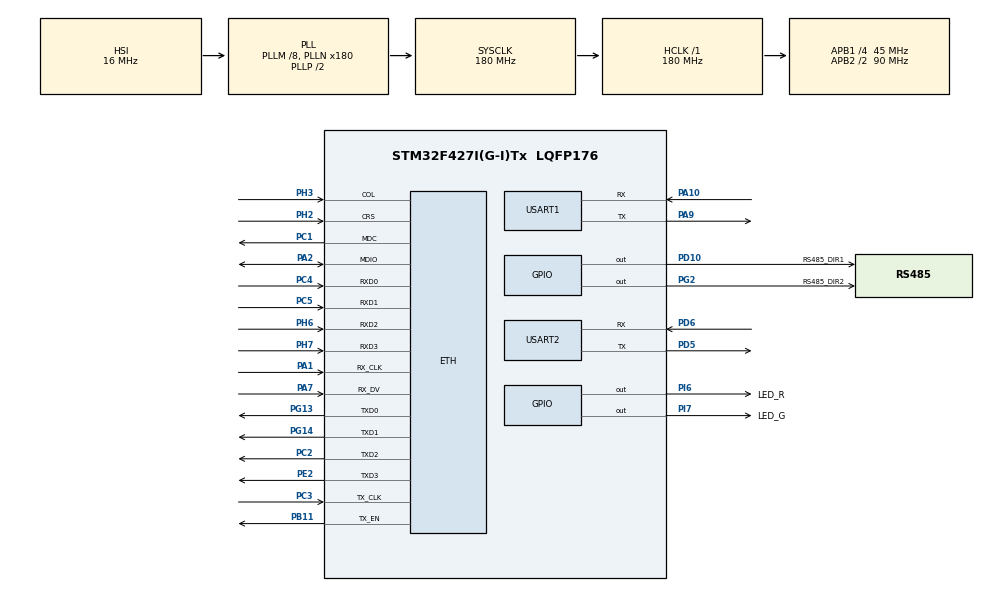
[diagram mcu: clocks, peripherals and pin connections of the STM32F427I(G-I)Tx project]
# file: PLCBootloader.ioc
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Dma.Request0=USART1_TX
Dma.Request1=USART2_TX
Dma.USART1_TX.0.Direction=DMA_MEMORY_TO_PERIPH
Dma.USART1_TX.0.FIFOMode=DMA_FIFOMODE_DISABLE
Dma.USART1_TX.0.Instance=DMA2_Stream7
Dma.USART1_TX.0.MemDataAlignment=DMA_MDATAALIGN_BYTE
Dma.USART1_TX.0.MemInc=DMA_MINC_ENABLE
Dma.USART1_TX.0.Mode=DMA_NORMAL
Dma.USART1_TX.0.PeriphDataAlignment=DMA_PDATAALIGN_BYTE
Dma.USART1_TX.0.PeriphInc=DMA_PINC_DISABLE
Dma.USART1_TX.0.Priority=DMA_PRIORITY_MEDIUM
Dma.USART2_TX.1.Direction=DMA_MEMORY_TO_PERIPH
Dma.USART2_TX.1.FIFOMode=DMA_FIFOMODE_DISABLE
Dma.USART2_TX.1.Instance=DMA1_Stream6
Dma.USART2_TX.1.MemDataAlignment=DMA_MDATAALIGN_BYTE
Dma.USART2_TX.1.MemInc=DMA_MINC_ENABLE
Dma.USART2_TX.1.Mode=DMA_NORMAL
Dma.USART2_TX.1.PeriphDataAlignment=DMA_PDATAALIGN_BYTE
Dma.USART2_TX.1.PeriphInc=DMA_PINC_DISABLE
Dma.USART2_TX.1.Priority=DMA_PRIORITY_MEDIUM
ETH.MediaInterface=ETH_MEDIA_INTERFACE_MII
FREERTOS.Tasks01=defaultTask,0,128,StartDefaultTask,Default,NULL
FREERTOS.configTOTAL_HEAP_SIZE=32000
LWIP.GATEWAY_ADDRESS=192.168.005.001
LWIP.IP_ADDRESS=192.168.005.002
LWIP.LWIP_DHCP=0
LWIP.NETMASK_ADDRESS=255.255.255.000
LWIP.Version=v2.0.3_Cube
Mcu.Family=STM32F4
Mcu.Name=STM32F427I(G-I)Tx
Mcu.Package=LQFP176
NVIC.DMA1_Stream6_IRQn=true\:5\:0\:false\:false\:true\:true\:false\:true
NVIC.DMA2_Stream7_IRQn=true\:5\:0\:false\:false\:true\:true\:false\:true
NVIC.ETH_IRQn=true\:5\:0\:false\:false\:true\:true\:false\:true
NVIC.PriorityGroup=NVIC_PRIORITYGROUP_4
NVIC.TIM1_UP_TIM10_IRQn=true\:0\:0\:false\:false\:true\:false\:false\:true
NVIC.TimeBase=TIM1_UP_TIM10_IRQn
NVIC.TimeBaseIP=TIM1
NVIC.USART1_IRQn=true\:5\:0\:false\:false\:true\:true\:true\:true
NVIC.USART2_IRQn=true\:5\:0\:false\:false\:true\:true\:true\:true
PA1.Mode=MII
PA1.Signal=ETH_RX_CLK
PA10.Mode=Asynchronous
PA10.Signal=USART1_RX
PA2.Mode=MII
PA2.Signal=ETH_MDIO
PA7.Mode=MII
PA7.Signal=ETH_RX_DV
PA9.Mode=Asynchronous
PA9.Signal=USART1_TX
PB11.Mode=MII
PB11.Signal=ETH_TX_EN
PC1.Mode=MII
PC1.Signal=ETH_MDC
PC2.Mode=MII
PC2.Signal=ETH_TXD2
PC3.Mode=MII
PC3.Signal=ETH_TX_CLK
PC4.Mode=MII
PC4.Signal=ETH_RXD0
PC5.Mode=MII
PC5.Signal=ETH_RXD1
PD10.GPIO_Label=RS485_DIR1
PD10.Signal=GPIO_Output
PD5.Mode=Asynchronous
PD5.Signal=USART2_TX
PD6.Mode=Asynchronous
PD6.Signal=USART2_RX
PE2.Mode=MII
PE2.Signal=ETH_TXD3
PG13.Mode=MII
PG13.Signal=ETH_TXD0
PG14.Mode=MII
PG14.Signal=ETH_TXD1
PG2.GPIO_Label=RS485_DIR2
PG2.Signal=GPIO_Output
PH0/OSC_IN.Mode=HSE-External-Oscillator
PH0/OSC_IN.Signal=RCC_OSC_IN
PH1/OSC_OUT.Mode=HSE-External-Oscillator
PH1/OSC_OUT.Signal=RCC_OSC_OUT
PH2.Mode=MII
PH2.Signal=ETH_CRS
PH3.Mode=MII
PH3.Signal=ETH_COL
PH6.Mode=MII
PH6.Signal=ETH_RXD2
PH7.Mode=MII
PH7.Signal=ETH_RXD3
PI6.GPIO_Label=LED_R
PI6.Signal=GPIO_Output
PI7.GPIO_Label=LED_G
PI7.Signal=GPIO_Output
ProjectManager.HeapSize=0x2000
ProjectManager.StackSize=0x4000
ProjectManager.TargetToolchain=TrueSTUDIO
RCC.48MHZClocksFreq_Value=90000000
RCC.AHBFreq_Value=180000000
RCC.APB1CLKDivider=RCC_HCLK_DIV4
RCC.APB1Freq_Value=45000000
RCC.APB1TimFreq_Value=90000000
RCC.APB2CLKDivider=RCC_HCLK_DIV2
RCC.APB2Freq_Value=90000000
RCC.APB2TimFreq_Value=180000000
RCC.CortexFreq_Value=180000000
RCC.HCLKFreq_Value=180000000
RCC.HSE_VALUE=25000000
RCC.HSI_VALUE=16000000
RCC.LSE_VALUE=32768
RCC.PLLM=8
RCC.PLLN=180
RCC.SYSCLKFreq_VALUE=180000000
RCC.SYSCLKSource=RCC_SYSCLKSOURCE_PLLCLK
RCC.VCOOutputFreq_Value=360000000
USART1.VirtualMode=VM_ASYNC
USART2.VirtualMode=VM_ASYNC
VP_FREERTOS_VS_CMSIS_V1.Mode=CMSIS_V1
VP_LWIP_VS_Enabled.Mode=Enabled
VP_SYS_VS_tim1.Mode=TIM1
board=custom

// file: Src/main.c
/* USER CODE BEGIN Header */
/**
  ******************************************************************************
  * @file           : main.c
  * @brief          : Main program body
  ******************************************************************************
  * @attention
  *
  * <h2><center>&copy; Copyright (c) 2019 STMicroelectronics.
  * All rights reserved.</center></h2>
  *
  * This software component is licensed by ST under Ultimate Liberty license
  * SLA0044, the "License"; You may not use this file except in compliance with
  * the License. You may obtain a copy of the License at:
  *                             www.st.com/SLA0044
  *
  ******************************************************************************
  */
/* USER CODE END Header */

#include "main.h"
#include "cmsis_os.h"
#include "dma.h"
#include "lwip.h"
#include "usart.h"
#include "gpio.h"

/* USER CODE BEGIN Includes */

#include "rs485.h"
#include "eeprom.h"
#include "flash_interface.h"

/* USER CODE END Includes */

/* USER CODE BEGIN PD */

#define	EEPROM_KEY_VALUE	0x3235
#define	CONFIG_KEY_VALUE	0x1215

/* USER CODE END PD */

/* USER CODE BEGIN PV */

extern uint16_t rx1_cnt;
extern uint16_t rx1_tmr;
extern uint8_t dir1_tmr;

extern uint16_t rx2_cnt;
extern uint16_t rx2_tmr;
extern uint8_t dir2_tmr;

uint16_t VirtAddVarTab[NB_OF_VAR]={1,2,3,4,5,6,7,8,9,10,11,12,13,14,15,16};

uint16_t ai_type = 0xFFFF;
uint8_t ip_addr[4] = {0};
uint8_t ip_mask[4] = {0};
uint8_t ip_gate[4] = {0};

uint16_t rs485_conf1 = 0x1002;
uint16_t rs485_conf2 = 0x1002;

uint8_t baudrate1=2;
uint8_t stop_bits1=1;
uint8_t parity1=0;
uint8_t baud_dir1 = 3;

uint8_t baudrate2=2;
uint8_t stop_bits2=1;
uint8_t parity2=0;
uint8_t baud_dir2 = 3;

extern uint8_t net_address;

/* USER CODE END PV */

void SystemClock_Config(void);
void MX_FREERTOS_Init(void);

int main(void)
{
  /* USER CODE BEGIN 1 */

	uint16_t ee_key = 0;

  /* USER CODE END 1 */

  /* MCU Configuration--------------------------------------------------------*/

  /* Reset of all peripherals, Initializes the Flash interface and the Systick. */
  HAL_Init();

  /* Configure the system clock */
  SystemClock_Config();

  /* USER CODE BEGIN SysInit */

  //start_application();

  HAL_Delay(1500);
  HAL_FLASH_Unlock();
  EE_Init();
  EE_ReadVariable(VirtAddVarTab[0],  &ee_key);
  if(ee_key!=EEPROM_KEY_VALUE) {
	  EE_WriteVariable(VirtAddVarTab[0],EEPROM_KEY_VALUE);
	  EE_WriteVariable(VirtAddVarTab[1],0); // start program cmd (0-init,1-bootloader finished, 2-correct program)
  }
  EE_ReadVariable(VirtAddVarTab[1],  &ee_key);
  if(ee_key==1) {
	  EE_WriteVariable(VirtAddVarTab[1],0);
	  start_application();
  }else if(ee_key==2) {
	  start_application();
  }
  EE_ReadVariable(VirtAddVarTab[15],  &ee_key);
  if(ee_key!=CONFIG_KEY_VALUE) {
  	  EE_WriteVariable(VirtAddVarTab[0],EEPROM_KEY_VALUE);
  	  EE_WriteVariable(VirtAddVarTab[2],1);			// net address
  	  EE_WriteVariable(VirtAddVarTab[3],0xC0A8);	// IP address
  	  EE_WriteVariable(VirtAddVarTab[4],0x0102);
  	  EE_WriteVariable(VirtAddVarTab[5],0xFFFF);	// IP mask
  	  EE_WriteVariable(VirtAddVarTab[6],0xFF00);
  	  EE_WriteVariable(VirtAddVarTab[7],0xC0A8);	// IP gate
  	  EE_WriteVariable(VirtAddVarTab[8],0x0101);
  	  EE_WriteVariable(VirtAddVarTab[9],0xFFFF);	// ai_type
  	  EE_WriteVariable(VirtAddVarTab[10],0x1002);	// rs485_conf1
  	  EE_WriteVariable(VirtAddVarTab[11],0x1002);	// rs485_conf2
  	  EE_WriteVariable(VirtAddVarTab[15],CONFIG_KEY_VALUE);
  }

  EE_ReadVariable(VirtAddVarTab[2],  &ee_key);
  net_address = ee_key&0xFF;
  EE_ReadVariable(VirtAddVarTab[3],  &ee_key);
  ip_addr[0] = ee_key>>8;
  ip_addr[1] = ee_key&0xFF;
  EE_ReadVariable(VirtAddVarTab[4],  &ee_key);
  ip_addr[2] = ee_key>>8;
  ip_addr[3] = ee_key&0xFF;
  EE_ReadVariable(VirtAddVarTab[5],  &ee_key);
  ip_mask[0] = ee_key>>8;
  ip_mask[1] = ee_key&0xFF;
  EE_ReadVariable(VirtAddVarTab[6],  &ee_key);
  ip_mask[2] = ee_key>>8;
  ip_mask[3] = ee_key&0xFF;
  EE_ReadVariable(VirtAddVarTab[7],  &ee_key);
  ip_gate[0] = ee_key>>8;
  ip_gate[1] = ee_key&0xFF;
  EE_ReadVariable(VirtAddVarTab[8],  &ee_key);
  ip_gate[2] = ee_key>>8;
  ip_gate[3] = ee_key&0xFF;
  EE_ReadVariable(VirtAddVarTab[9],  &ai_type);
  EE_ReadVariable(VirtAddVarTab[10],  &rs485_conf1);
  EE_ReadVariable(VirtAddVarTab[11],  &rs485_conf2);

  baudrate1 = rs485_conf1 & 0xFF;
    baudrate2 = rs485_conf2 & 0xFF;
    parity1 = rs485_conf1 >> 12;
    parity2 = rs485_conf2 >> 12;
    stop_bits1 = (rs485_conf1 >> 8) & 0x0F;
    stop_bits2 = (rs485_conf2 >> 8) & 0x0F;

    switch(baudrate1) {
		case 0:baud_dir1 = 10;break;
		case 1:baud_dir1 = 6;break;
		case 2:baud_dir1 = 3;break;
		case 3:baud_dir1 = 2;break;
		case 4:baud_dir1 = 2;break;
		case 5:baud_dir1 = 2;break;
		case 6:baud_dir1 = 1;break;
    }

    switch(baudrate2) {
		case 0:baud_dir2 = 10;break;
		case 1:baud_dir2 = 6;break;
		case 2:baud_dir2 = 3;break;
		case 3:baud_dir2 = 2;break;
		case 4:baud_dir2 = 2;break;
		case 5:baud_dir2 = 2;break;
		case 6:baud_dir2 = 1;break;
   }

  /* USER CODE END SysInit */

  /* Initialize all configured peripherals */
  MX_GPIO_Init();
  MX_USART1_UART_Init();
  MX_USART2_UART_Init();
  MX_DMA_Init();
  /* USER CODE BEGIN 2 */

  LL_DMA_EnableIT_TC(DMA1, LL_DMA_STREAM_6);
  LL_DMA_EnableIT_TE(DMA1, LL_DMA_STREAM_6);
  LL_USART_EnableIT_RXNE(USART2);
  LL_DMA_EnableIT_TC(DMA2, LL_DMA_STREAM_7);
  LL_DMA_EnableIT_TE(DMA2, LL_DMA_STREAM_7);
  LL_USART_EnableIT_RXNE(USART1);

  LL_USART_Enable(USART1);
  LL_USART_Enable(USART2);

  /* USER CODE END 2 */

  /* Call init function for freertos objects (in freertos.c) */
  MX_FREERTOS_Init();

  /* Start scheduler */
  osKernelStart();

  /* We should never get here as control is now taken by the scheduler */

  /* Infinite loop */
  while (1)
  {

  }
}

void SystemClock_Config(void)
{
  RCC_OscInitTypeDef RCC_OscInitStruct = {0};
  RCC_ClkInitTypeDef RCC_ClkInitStruct = {0};

  /** Configure the main internal regulator output voltage
  */
  __HAL_RCC_PWR_CLK_ENABLE();
  __HAL_PWR_VOLTAGESCALING_CONFIG(PWR_REGULATOR_VOLTAGE_SCALE1);
  /** Initializes the CPU, AHB and APB busses clocks
  */
  RCC_OscInitStruct.OscillatorType = RCC_OSCILLATORTYPE_HSI;
  RCC_OscInitStruct.HSIState = RCC_HSI_ON;
  RCC_OscInitStruct.HSICalibrationValue = RCC_HSICALIBRATION_DEFAULT;
  RCC_OscInitStruct.PLL.PLLState = RCC_PLL_ON;
  RCC_OscInitStruct.PLL.PLLSource = RCC_PLLSOURCE_HSI;
  RCC_OscInitStruct.PLL.PLLM = 8;
  RCC_OscInitStruct.PLL.PLLN = 180;
  RCC_OscInitStruct.PLL.PLLP = RCC_PLLP_DIV2;
  RCC_OscInitStruct.PLL.PLLQ = 4;
  if (HAL_RCC_OscConfig(&RCC_OscInitStruct) != HAL_OK)
  {
    Error_Handler();
  }
  /** Activate the Over-Drive mode
  */
  if (HAL_PWREx_EnableOverDrive() != HAL_OK)
  {
    Error_Handler();
  }
  /** Initializes the CPU, AHB and APB busses clocks
  */
  RCC_ClkInitStruct.ClockType = RCC_CLOCKTYPE_HCLK|RCC_CLOCKTYPE_SYSCLK
                              |RCC_CLOCKTYPE_PCLK1|RCC_CLOCKTYPE_PCLK2;
  RCC_ClkInitStruct.SYSCLKSource = RCC_SYSCLKSOURCE_PLLCLK;
  RCC_ClkInitStruct.AHBCLKDivider = RCC_SYSCLK_DIV1;
  RCC_ClkInitStruct.APB1CLKDivider = RCC_HCLK_DIV4;
  RCC_ClkInitStruct.APB2CLKDivider = RCC_HCLK_DIV2;

  if (HAL_RCC_ClockConfig(&RCC_ClkInitStruct, FLASH_LATENCY_5) != HAL_OK)
  {
    Error_Handler();
  }
}

void HAL_TIM_PeriodElapsedCallback(TIM_HandleTypeDef *htim)
{
  /* USER CODE BEGIN Callback 0 */
  static uint16_t led_tmr=0;

  if(rx1_cnt) {rx1_tmr++;}else rx1_tmr=0;
  if(dir1_tmr) {
	dir1_tmr--;
	if(dir1_tmr==0) {
		HAL_GPIO_WritePin(RS485_DIR1_GPIO_Port,RS485_DIR1_Pin,GPIO_PIN_RESET);
		LL_USART_EnableIT_RXNE(USART1);
	}
  }

  if(rx2_cnt) {rx2_tmr++;}else rx2_tmr=0;
  if(dir2_tmr) {
	  dir2_tmr--;
	  if(dir2_tmr==0) {
		  HAL_GPIO_WritePin(RS485_DIR2_GPIO_Port,RS485_DIR2_Pin,GPIO_PIN_RESET);
		  LL_USART_EnableIT_RXNE(USART2);
	  }
  }

  uart1_scan();
  uart2_scan();
  led_tmr++;if(led_tmr>=100) {
	  led_tmr = 0;
	  HAL_GPIO_TogglePin(LED_G_GPIO_Port,LED_G_Pin);
  }
  /* USER CODE END Callback 0 */
  if (htim->Instance == TIM1) {
    HAL_IncTick();
  }
}

void Error_Handler(void)
{
}

/************************ (C) COPYRIGHT STMicroelectronics *****END OF FILE****/

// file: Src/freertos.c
/* USER CODE BEGIN Header */
/**
  ******************************************************************************
  * File Name          : freertos.c
  * Description        : Code for freertos applications
  ******************************************************************************
  * @attention
  *
  * <h2><center>&copy; Copyright (c) 2019 STMicroelectronics.
  * All rights reserved.</center></h2>
  *
  * This software component is licensed by ST under Ultimate Liberty license
  * SLA0044, the "License"; You may not use this file except in compliance with
  * the License. You may obtain a copy of the License at:
  *                             www.st.com/SLA0044
  *
  ******************************************************************************
  */
/* USER CODE END Header */

#include "FreeRTOS.h"
#include "task.h"
#include "main.h"
#include "cmsis_os.h"

/* USER CODE BEGIN Includes */

#include "rs485.h"
#include "eeprom.h"
#include "udp_server.h"

/* USER CODE END Includes */

/* USER CODE BEGIN Variables */

extern uint8_t jump_flag;
extern uint16_t VirtAddVarTab[NB_OF_VAR];

/* USER CODE END Variables */
osThreadId defaultTaskHandle;

void StartDefaultTask(void const * argument);

extern void MX_LWIP_Init(void);
void MX_FREERTOS_Init(void); /* (MISRA C 2004 rule 8.1) */

/* GetIdleTaskMemory prototype (linked to static allocation support) */
void vApplicationGetIdleTaskMemory( StaticTask_t **ppxIdleTaskTCBBuffer, StackType_t **ppxIdleTaskStackBuffer, uint32_t *pulIdleTaskStackSize );

/* USER CODE BEGIN GET_IDLE_TASK_MEMORY */
static StaticTask_t xIdleTaskTCBBuffer;
static StackType_t xIdleStack[configMINIMAL_STACK_SIZE];

void vApplicationGetIdleTaskMemory( StaticTask_t **ppxIdleTaskTCBBuffer, StackType_t **ppxIdleTaskStackBuffer, uint32_t *pulIdleTaskStackSize )
{
  *ppxIdleTaskTCBBuffer = &xIdleTaskTCBBuffer;
  *ppxIdleTaskStackBuffer = &xIdleStack[0];
  *pulIdleTaskStackSize = configMINIMAL_STACK_SIZE;
  /* place for user code */
}
/* USER CODE END GET_IDLE_TASK_MEMORY */

void MX_FREERTOS_Init(void) {

  /* Create the thread(s) */
  /* definition and creation of defaultTask */
  osThreadDef(defaultTask, StartDefaultTask, osPriorityNormal, 0, 128);
  defaultTaskHandle = osThreadCreate(osThread(defaultTask), NULL);

}

void StartDefaultTask(void const * argument)
{
  /* init code for LWIP */
  MX_LWIP_Init();
  /* USER CODE BEGIN StartDefaultTask */
  udp_server_init();
  /* Infinite loop */
  for(;;)
  {
	  if(jump_flag) {
		  osDelay(100);
		  EE_WriteVariable(VirtAddVarTab[1],1);
		  osDelay(10);
		  NVIC_SystemReset();
	  }
	  osDelay(1);
  }
  /* USER CODE END StartDefaultTask */
}

/************************ (C) COPYRIGHT STMicroelectronics *****END OF FILE****/
